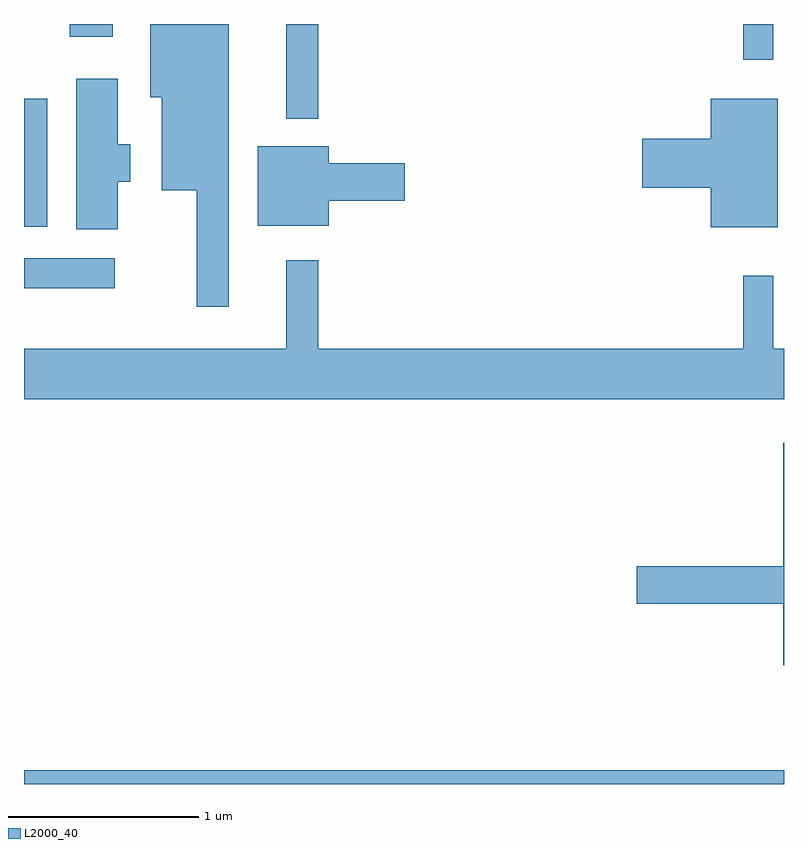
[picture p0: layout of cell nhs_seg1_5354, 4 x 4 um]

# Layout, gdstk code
import gdstk
lib = gdstk.Library(unit=1e-6, precision=1e-09)
def R(c, l, rs):  # rectangles x0, y0, x1, y1
    for r in rs: c.add(gdstk.rectangle(r[:2], r[2:], *l))
def P(c, l, *ps):  # polygons
    for p in ps: c.add(gdstk.Polygon(p, *l))
L2000_40 = (2000, 40)

nhs_seg1_5354 = lib.new_cell('nhs_seg1_5354')
R(nhs_seg1_5354, L2000_40, [(345.611,959.712,349.611,959.784), (345.611,962.321,346.088,962.479), (345.611,962.646,345.734,963.319), (346.991,963.213,347.159,963.712), (349.396,963.523,349.554,963.712), (345.851,963.646,346.079,963.712)])
P(nhs_seg1_5354, L2000_40, [(346.689,963.712),(346.276,963.712),(346.276,963.326),(346.336,963.326),(346.336,962.836),(346.521,962.836),(346.521,962.223),(346.689,962.223)],
  [(346.104,962.881),(346.169,962.881),(346.169,963.079),(346.104,963.079),(346.104,963.424),(345.886,963.424),(345.886,962.631),(346.104,962.631)],
  [(349.579,963.319),(349.226,963.319),(349.226,963.109),(348.866,963.109),(348.866,962.851),(349.226,962.851),(349.226,962.641),(349.579,962.641)],
  [(347.214,962.781),(347.614,962.781),(347.614,962.979),(347.214,962.979),(347.214,963.069),(346.841,963.069),(346.841,962.651),(347.214,962.651)],
  [(349.611,962.004),(349.554,962.004),(349.554,962.388),(349.396,962.388),(349.396,962.004),(347.159,962.004),(347.159,962.468),(346.991,962.468),(346.991,962.004),(345.611,962.004),(345.611,961.736),(349.611,961.736)],
  [(349.611,961.509),(349.606,961.509),(349.606,960.859),(348.836,960.859),(348.836,960.661),(349.606,960.661),(349.606,960.336),(349.611,960.336)])

lib.write_gds('nhs_seg1_5354.gds')
